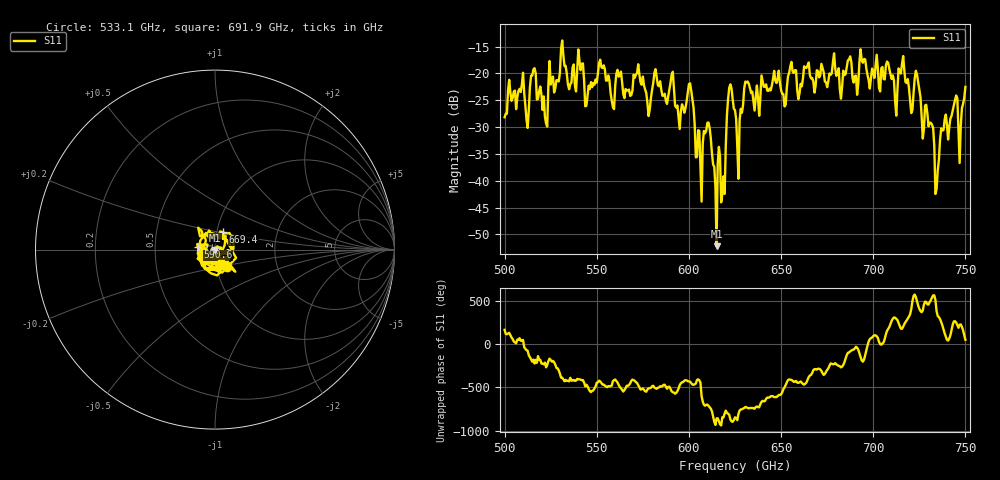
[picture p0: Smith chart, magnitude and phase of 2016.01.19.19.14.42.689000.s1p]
!Created with skrf (http://scikit-rf.org).
# GHz S RI R 50.0
!freq ReS11 ImS11
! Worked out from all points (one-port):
!   401 points, 500 GHz to 750 GHz, reference 50 ohm
!   lowest |S11| = -52.2 dB at 615 GHz (marker M1), VSWR 1.00, Z = 49.8 - j0.158 ohm
!   |S11| at or under -10 dB: start of sweep to end of sweep
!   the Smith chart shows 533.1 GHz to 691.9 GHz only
!   S11 on the Smith chart (normalised r, x): 533.1 GHz: 1.12, -0.22; 590.6 GHz: 0.82, +0.02; 669.4 GHz: 1.08, +0.21; 691.9 GHz: 1.06, -0.16
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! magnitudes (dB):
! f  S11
! 500 GHz  -28.2
! 508.8 GHz  -23.5
! 512.5 GHz  -30.2
! 515.6 GHz  -19.3
! 521.9 GHz  -28.1
! 531.2 GHz  -13.9
! 533.1 GHz  -18.6
! 562.5 GHz  -20.3
! 578.1 GHz  -27.9
! 590.6 GHz  -20.2
! 593.8 GHz  -26.0
! 600.6 GHz  -21.8
! 605.6 GHz  -30.7
! 610.6 GHz  -29.2
! 615 GHz  -52.2
! 618.8 GHz  -39.2
! 621.9 GHz  -22.7
! 625 GHz  -26.9
! 656.2 GHz  -19.6
! 669.4 GHz  -19.4
! 687.5 GHz  -16.8
! 691.9 GHz  -21.9
! 718.8 GHz  -21.1
! 723.8 GHz  -20.2
! 734.4 GHz  -41.5
! 738.1 GHz  -30.6
! 747.5 GHz  -29.6
! 750 GHz  -22.5
